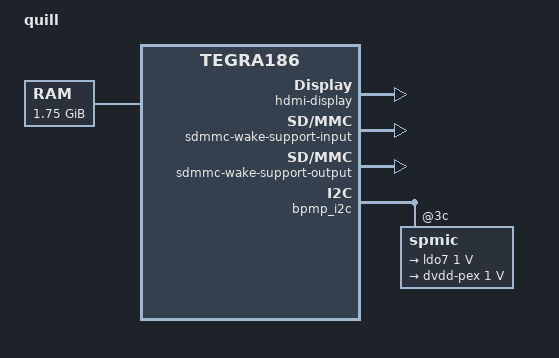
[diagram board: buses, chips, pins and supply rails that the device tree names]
/*
 * tegra186-quill-p3310-c03-00-base.dts Quill C03 Board
 *
 * Copyright (c) 2016-2018, NVIDIA CORPORATION. All rights reserved.
 *
 * This program is free software; you can redistribute it and/or modify
 * it under the terms of the GNU General Public License as published by
 * the Free Software Foundation; version 2 of the License.
 *
 * This program is distributed in the hope that it will be useful, but WITHOUT
 * ANY WARRANTY; without even the implied warranty of MERCHANTABILITY or
 * FITNESS FOR A PARTICULAR PURPOSE.  See the GNU General Public License for
 * more details.
 */
#include <t18x-common-platforms/tegra186-quill-common-p3310-1000-a00.dtsi>
//#include <t18x-common-platforms/tegra186-quill-power-tree-p3310-1000-a00-00.dtsi>
#include <t18x-common-platforms/tegra186-tx2-cti-power-tree.dtsi>
//#include <t18x-common-platforms/tegra186-quill-camera-modules.dtsi>
#include <t18x-common-modules/tegra186-display-e3320-1000-a00.dtsi>


/* comms dtsi file should be included after gpio dtsi file */
#include <t18x-common-platforms/tegra186-quill-comms.dtsi>
#include <t18x-common-plugin-manager/tegra186-tx2-cti-plugin-manager.dtsi>
//#include <t18x-common-modules/tegra186-super-module-e2614-p2597-1000-a00.dtsi>
#include <t18x-common-plugin-manager/tegra186-quill-display-plugin-manager.dtsi>
#include <t18x-common-prod/tegra186-priv-quill-p3310-1000-a00-prod.dtsi>
//#include <t18x-common-plugin-manager/tegra186-quill-camera-plugin-manager.dtsi>
#include "tegra186-tx2-cti-usb-pcie-base.dtsi"

/ {
    model = "quill";
    compatible = "nvidia,quill", "nvidia,tegra186";

    nvidia,boardids = "3310:0000:C03";
    nvidia,proc-boardid = "3310:0000:C03";

	nvidia,dtsfilename = __FILE__;
	nvidia,dtbbuildtime = __DATE__, __TIME__;
	nvidia,fastboot-usb-vid = <0x0955>;
	nvidia,fastboot-usb-pid = <0xee16>;

    chosen {
        board-has-eeprom;
        bootargs ="console=ttyS0,115200 androidboot.presilicon=true firmware_class.path=/etc/firmware";
        stdout-path = &uarta;
    };

    firmware {
        android {
            compatible = "android,firmware";
            hardware = "quill";
            vbmeta {
                compatible = "android,vbmeta";
                parts = "vbmeta,kernel,kernel-dtb,kernel-dtbo,APP,vendor,SOS";
            };
            fstab {
                compatible = "android,fstab";
                vendor {
                    compatible = "android,vendor";
                    dev = "/dev/block/platform/3460000.sdhci/by-name/vendor";
                    type = "ext4";
                    mnt_flags = "ro";
                    fsmgr_flags = "wait,avb";
                };
                odm {
                    compatible = "android,odm";
                    dev = "/dev/block/platform/3460000.sdhci/by-name/odm";
                    type = "ext4";
                    mnt_flags = "ro";
                    fsmgr_flags = "wait,avb";
                };
            };
        };
    };

    memory@80000000 {
        device_type = "memory";
        reg = <0x0 0x80000000 0x0 0x70000000>;
    };

    i2c@3160000 {

        gpio@74{
            status = "disabled";


        };
        gpio@77{
            status = "disabled";

        };

        lp8557-backlight-s-wuxga-8-0@2c {
            status = "disabled";
        };
    };

    i2c@c240000 {
        clock-frequency = <400000>;
    };

    cpus {
        status = "disabled";
    };
    host1x {
        sor {
            status = "disabled";
            dp-display {
                status = "disabled";
            };
            hdmi-display {
                status = "disabled";
            };

            panel-s-edp-uhdtv-15-6 {
                smartdimmer {
                    status = "disabled";
                };
            };
        };

        dpaux@155c0000 {
            status = "disabled";
        };

        sor1 {
            status = "okay";
            nvidia,active-panel = <&sor1_hdmi_display>;
            hdmi-display {
                status = "okay";
            };
            dp-display {
                status = "disabled";
            };
        };

        nvdisplay@15200000 {
            status = "disabled";
        };

        nvdisplay@15220000 {
            status = "disabled";
        };
    };


	pinmux@2430000 {
		common {
			gpio_edp2_pp5 {
				status = "okay";
			};

			gpio_edp3_pp6 {
				status = "okay";
			};
		};
	};

	gpio@2200000 {
		sdmmc-wake-support-input {
			status = "okay";
		};

		sdmmc-wake-support-output {
			status = "okay";
		};
	};


	sdhci@3400000 {
		cd-gpios = <&tegra_main_gpio TEGRA_MAIN_GPIO(P, 5) 0>;
		nvidia,cd-wakeup-capable;
	};

/*	i2c@3160000 {
        /delete-node/ ina3221x@40;
		/delete-node/ ina3221x@41;

	};*/

	i2c@c240000 {
		bmi160@69 {
			compatible = "bmi,bmi160";
			reg = <0x69>;
			interrupt-parent = <&tegra_aon_gpio>;
			interrupts = <TEGRA_AON_GPIO(AA, 2) 0x01>;
			accelerometer_matrix    = [01 00 00 00 01 00 00 00 01];
			gyroscope_matrix        = [01 00 00 00 01 00 00 00 01];
			accelerometer_delay_us_min = <1250>;
			gyroscope_delay_us_min = <1250>;
			vdd-supply = <&spmic_sd3>;
			vdd_IO-supply = <&spmic_sd3>;
			status = "disabled";
		};
	};

	mttcan@c310000 {
		status = "disabled";
		gpio_can_stb = <&tegra_aon_gpio TEGRA_AON_GPIO(AA, 0) GPIO_ACTIVE_HIGH>;
		gpio_can_en = <&tegra_aon_gpio TEGRA_AON_GPIO(AA, 1) GPIO_ACTIVE_HIGH>;
		mram-params = <0 16 16 8 8 8 16 16 16>;
		tx-config = <8 8 0 64>;
		rx-config = <64 64 64>;
	};

	mttcan@c320000 {
		status = "disabled";
		gpio_can_stb = <&tegra_aon_gpio TEGRA_AON_GPIO(AA, 6) GPIO_ACTIVE_HIGH>;
		gpio_can_en = <&tegra_aon_gpio TEGRA_AON_GPIO(AA, 7) GPIO_ACTIVE_HIGH>;
		mram-params = <0 16 16 8 8 8 16 16 16>;
		tx-config = <8 8 0 64>;
		rx-config = <64 64 64>;
	};

	ahci-sata@3507000 {
		gpios = <&spmic 7 0>;
	};


    bluedroid_pm {
        bluedroid_pm,reset-gpio = <&tegra_main_gpio TEGRA_MAIN_GPIO(H, 5) 0>;
    };

	fixed-regulators {
		regulator@1 {
			gpio = <&tegra_main_gpio TEGRA_MAIN_GPIO(P, 6) 0>;
                };
	};

	bpmp_i2c {
		spmic@3c {
			pinmux@0 {
				pin_gpio2 {
					status = "disabled";
				};
				pin_gpio3 {
					status = "disabled";
				};
				pin_gpio7 {
					drive-push-pull = <1>;
				};
			};

			regulators {
				ldo0 {
					maxim,active-fps-source = <MAX77620_FPS_SRC_NONE>;
				};

				ldo6 {
					maxim,active-fps-source = <MAX77620_FPS_SRC_NONE>;
					regulator-boot-on;
					regulator-always-on;
				};

				ldo7 {
					regulator-min-microvolt = <1000000>;
					regulator-max-microvolt = <1000000>;
				};

				ldo8 {
					regulator-name = "dvdd-pex";
					regulator-min-microvolt = <1000000>;
					regulator-max-microvolt = <1000000>;
				};
			};
		};
	};
    can_clock: can_clock{
        compatible = "fixed-clock";
        #clock-cells = <0>;
        clock-frequency = <20000000>;
        clock-accuracy = <100>;
    };



};

#if LINUX_VERSION >= 414
#include <tegra186-linux-4.14.dtsi>
#endif
                   
